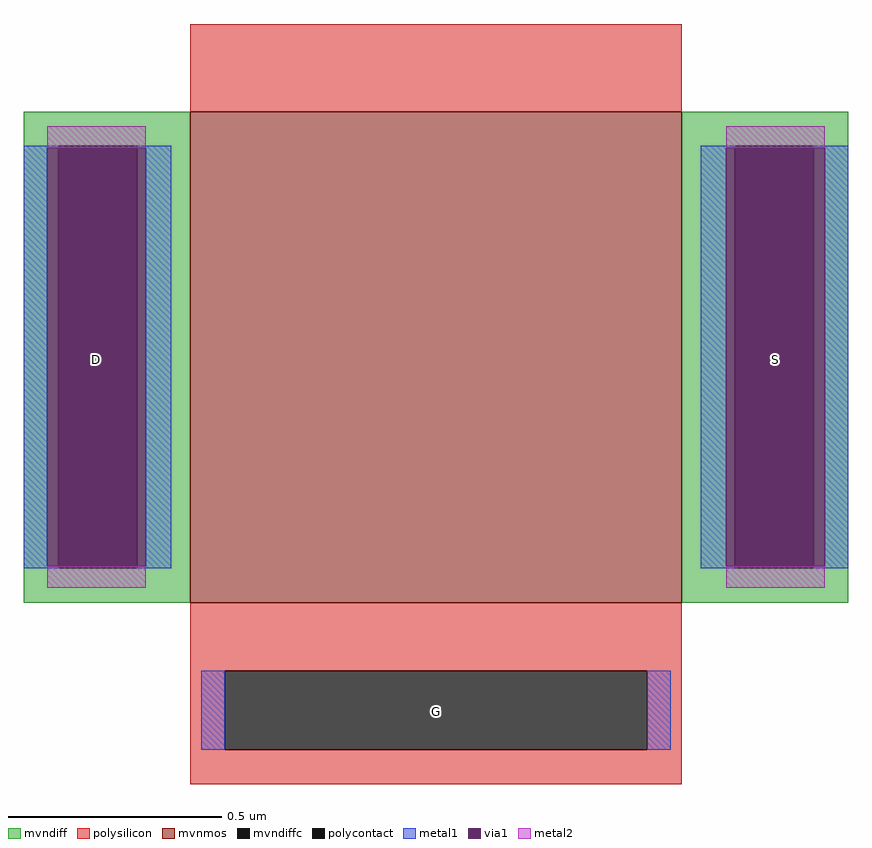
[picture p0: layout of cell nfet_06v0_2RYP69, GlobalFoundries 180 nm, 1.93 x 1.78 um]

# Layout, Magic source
magic
tech gf180mcuD
magscale 1 10
<< mvnmos >>
rect -115 -93 115 137
<< mvndiff >>
rect -193 121 -115 137
rect -193 -77 -177 121
rect -140 -77 -115 121
rect -193 -93 -115 -77
rect 115 121 193 137
rect 115 -77 140 121
rect 177 -77 193 121
rect 115 -93 193 -77
<< mvndiffc >>
rect -177 -77 -140 121
rect 140 -77 177 121
<< polysilicon >>
rect -115 137 115 178
rect -115 -125 115 -93
rect -115 -162 -99 -125
rect 99 -162 115 -125
rect -115 -178 115 -162
<< polycontact >>
rect -99 -162 99 -125
<< metal1 >>
rect -193 120 -177 121
rect -140 120 -124 121
rect -193 -76 -182 120
rect -136 -76 -124 120
rect -193 -77 -177 -76
rect -140 -77 -124 -76
rect 124 120 140 121
rect 177 120 193 121
rect 124 -76 136 120
rect 182 -76 193 120
rect 124 -77 140 -76
rect 177 -77 193 -76
rect -110 -162 -99 -125
rect 99 -162 110 -125
<< via1 >>
rect -182 -76 -177 120
rect -177 -76 -140 120
rect -140 -76 -136 120
rect 136 -76 140 120
rect 140 -76 177 120
rect 177 -76 182 120
<< metal2 >>
rect -182 120 -136 130
rect -182 -86 -136 -76
rect 136 120 182 130
rect 136 -86 182 -76
<< labels >>
rlabel mvndiffc -159 21 -159 21 0 D
port 1 nsew
rlabel mvndiffc 159 21 159 21 0 S
port 2 nsew
rlabel polycontact 0 -144 0 -144 0 G
port 3 nsew
<< properties >>
string gencell nfet_05v0
string library gf180mcu
string parameters w 1.0 l 1.0 m 1 ng 1 diffcov 100 polycov 100 guard 0 glc 1 grc 1 gtc 1 gbc 1 tbcov 100 rlcov 100 topc 0 botc 1 poverlap 0 doverlap 1 lmin 0.45 wmin 0.15 class mosfet compatible {nfet_05v0 nfet_06v0} full_metal 1 conn_gates 0 gate_ring 0 doports 1 viasrc 100 viadrn 100 viagate 0 ccols 1 viagb 0 viagr 0 viagl 0 viagt 0
<< end >>
